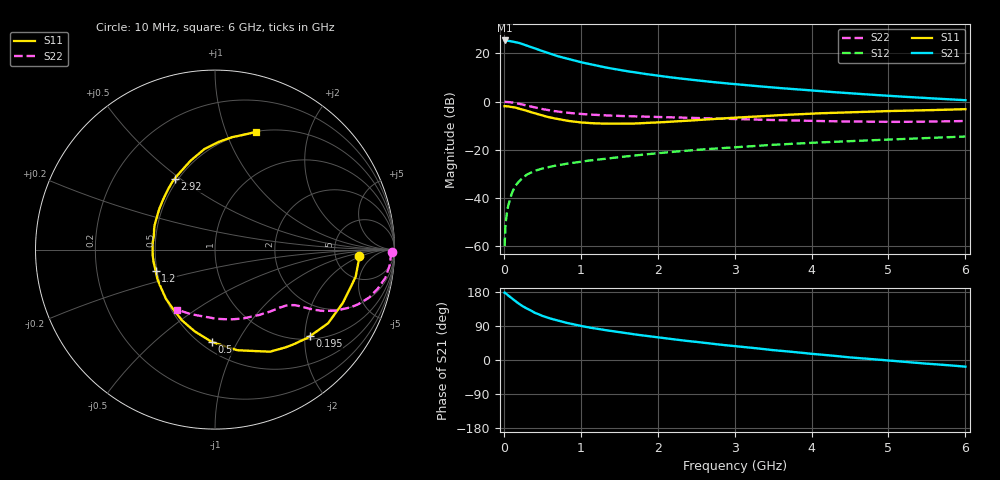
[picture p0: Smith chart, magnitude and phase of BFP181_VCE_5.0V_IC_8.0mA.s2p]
! Infineon Technologies  Discrete & RF Semiconductors
! BFP181
! VCE = 5.0 V,  IC =  8.0 mA
! Common Emitter S-Parameters:  Jan 2016
# GHz  S  MA  R  50
!  f  S11  S21  S12  S22
! GHz  MAG  ANG  MAG  ANG  MAG  ANG  MAG  ANG
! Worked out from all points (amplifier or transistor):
!   210 points, 10 MHz to 6 GHz, reference 50 ohm
!   highest |S21| = 25.3 dB at 10 MHz (marker M1)
!   |S21| within 3 dB of that: start of sweep to 376.5 MHz
!   unconditionally stable (mu >= 1): 1.392 GHz to end of sweep
!   at 185 MHz: K = 0.22, MSG = 29.0 dB, |S12| = -33.6 dB
!   at 1.52 GHz: K = 1.03, MAG = 16.9 dB, |S12| = -23.0 dB
!   at 6 GHz: K = 1.02, MAG = 6.7 dB, |S12| = -14.5 dB
!   S11 on the Smith chart (normalised r, x): 10 MHz: 8.72, -1.63; 195 MHz: 1.07, -2.12; 500 MHz: 0.57, -0.79; 1.2 GHz: 0.49, -0.13; 2.92 GHz: 0.48, +0.48; 6 GHz: 0.51, +1.28
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0.01  0.8005 -2.4  18.5 177.8  0.001 88.8  0.9853 -0.8
0.035  0.7992 -7.7  18.3 174.1  0.0043 88.1  0.9794 -3.3
0.05  0.7981 -11.0  18.3 171.4  0.0061 86.4  0.9786 -4.8
0.1  0.7721 -22.6  17.73 163.3  0.0119 76.3  0.9624 -9.4
0.15  0.7519 -33.1  17.09 155.3  0.0179 72.4  0.9326 -13.5
0.195  0.7154 -42.5  16.45 148.7  0.0219 69.4  0.9022 -16.9
0.24  0.6841 -50.8  15.57 142.5  0.0257 65.3  0.8673 -19.8
0.3  0.646 -61.7  14.48 135.8  0.0305 61.4  0.824 -22.9
0.4  0.5743 -77.5  12.73 124.9  0.0364 56.2  0.7565 -26.7
0.5  0.5152 -91.9  11.13 116.4  0.0408 52.3  0.6991 -29.3
0.6  0.4692 -104.0  9.902 109.6  0.0444 50.2  0.6536 -31.0
0.7  0.4351 -115.0  8.735 103.9  0.0478 48.5  0.6194 -32.1
0.8  0.405 -125.3  7.929 98.7  0.0509 47.6  0.593 -32.9
1.02  0.3669 -146.1  6.448 89.2  0.057 46.4  0.5504 -34.4
1.2  0.3518 -160.2  5.574 82.8  0.0618 46.0  0.5278 -35.9
1.6  0.3492 173.4  4.27 70.5  0.073 45.4  0.4976 -39.3
2.02  0.37 151.4  3.401 59.3  0.0852 43.8  0.4754 -44.2
2.92  0.4538 119.7  2.362 38.2  0.1106 39.2  0.4351 -57.4
3.1  0.4707 114.8  2.225 34.7  0.1155 38.0  0.4272 -60.4
4.1  0.57 94.3  1.651 14.6  0.1418 31.0  0.3946 -79.8
5.1  0.6388 80.2  1.286 -2.9  0.1653 24.2  0.3785 -101.9
6  0.6947 70.7  1.067 -17.5  0.1879 17.5  0.3957 -122.4
